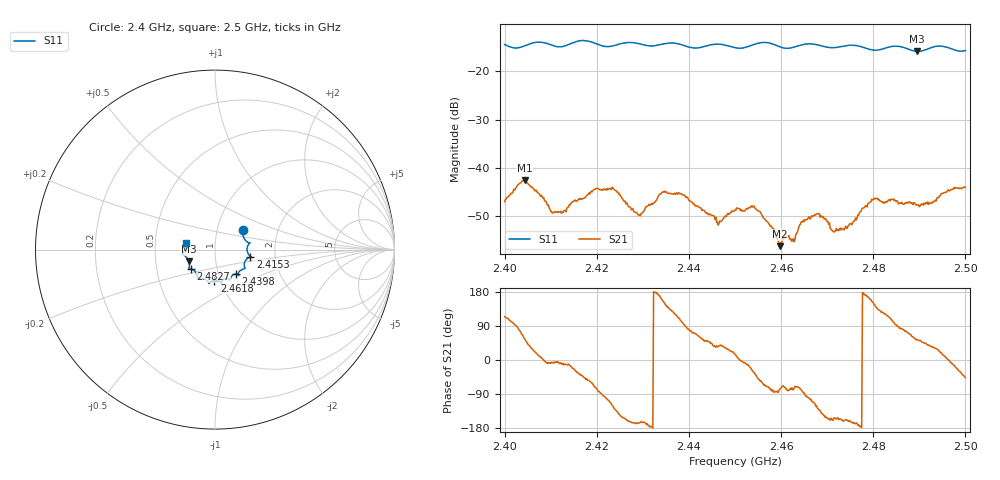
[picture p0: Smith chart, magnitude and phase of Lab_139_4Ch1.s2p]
# Hz S RI R 50
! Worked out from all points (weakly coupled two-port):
!   601 points, 2.4 GHz to 2.5 GHz, reference 50 ohm
!   highest |S21| = -42.51 dB at 2.4043 GHz (marker M1); lowest = -56.2 dB at 2.4597 GHz (marker M2)
!   lowest |S11| = -15.9 dB at 2.4895 GHz (marker M3), VSWR 1.38, Z = 37 - j5 ohm
!   |S11| at or under -10 dB: start of sweep to end of sweep
!   S12 and S22 are empty: the file has one direction only
!   S11 on the Smith chart (normalised r, x): 2.4 GHz: 1.33, +0.29; 2.4153 GHz: 1.48, -0.12; 2.4398 GHz: 1.21, -0.34; 2.4618 GHz: 0.94, -0.33; 2.4827 GHz: 0.75, -0.17; 2.5 GHz: 0.72, +0.06
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2.4e9  0.1553 0.1066  -0.00184 0.00409  0 0  0 0
2.404333e9  0.1773 0.044  0.00419 0.00621  0 0  0 0
2.4105e9  0.1824 0.0214  0.00342 -0.000471  0 0  0 0
2.415333e9  0.1967 -0.0389  0.0041 -0.0022  0 0  0 0
2.416667e9  0.2027 -0.0431  0.00365 -0.00303  0 0  0 0
2.423333e9  0.1627 -0.0808  -0.00312 -0.00548  0 0  0 0
2.429333e9  0.1588 -0.1073  -0.00319 -0.0008  0 0  0 0
2.433333e9  0.1295 -0.1337  -0.00505 0.000676  0 0  0 0
2.439833e9  0.1155 -0.1356  0.000662 0.00479  0 0  0 0
2.4465e9  0.085 -0.1703  0.0021 0.0016  0 0  0 0
2.45e9  0.0657 -0.1622  0.00354 0.000972  0 0  0 0
2.454167e9  0.0357 -0.1857  0.00337 -0.00219  0 0  0 0
2.459667e9  0.0245 -0.1774  0.000342 -0.00152  0 0  0 0
2.461833e9  -0.00341 -0.173  0.0004 -0.00184  0 0  0 0
2.466667e9  -0.0347 -0.188  -0.00103 -0.00305  0 0  0 0
2.468333e9  -0.0371 -0.181  -0.00227 -0.00247  0 0  0 0
2.472e9  -0.0703 -0.1614  -0.00216 -0.000981  0 0  0 0
2.480167e9  -0.1116 -0.1213  -0.00411 0.00261  0 0  0 0
2.482667e9  -0.1351 -0.1085  -0.00232 0.00381  0 0  0 0
2.483333e9  -0.1402 -0.108  -0.00193 0.00426  0 0  0 0
2.4895e9  -0.1458 -0.0659  0.00249 0.00333  0 0  0 0
2.5e9  -0.159 0.0388  0.00433 -0.00459  0 0  0 0
